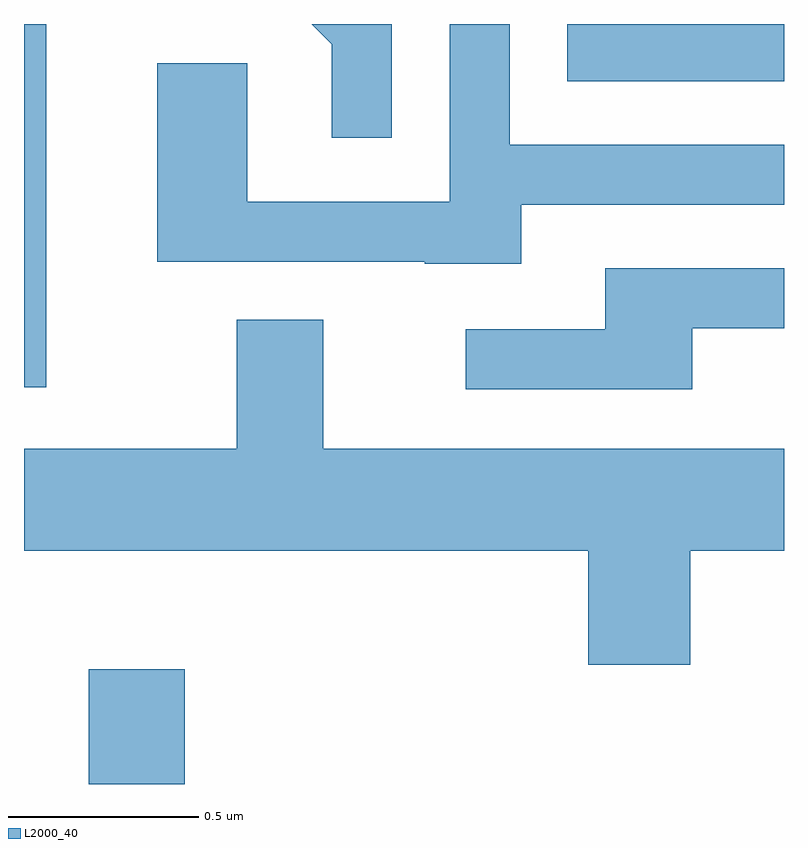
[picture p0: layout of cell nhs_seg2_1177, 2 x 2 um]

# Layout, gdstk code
import gdstk
lib = gdstk.Library(unit=1e-6, precision=1e-09)
def R(c, l, rs):  # rectangles x0, y0, x1, y1
    for r in rs: c.add(gdstk.rectangle(r[:2], r[2:], *l))
def P(c, l, *ps):  # polygons
    for p in ps: c.add(gdstk.Polygon(p, *l))
L2000_40 = (2000, 40)

nhs_seg2_1177 = lib.new_cell('nhs_seg2_1177')
R(nhs_seg2_1177, L2000_40, [(193.781,1058.802,194.034,1059.104), (193.611,1059.846,193.669,1060.802), (195.041,1060.651,195.611,1060.802)])
P(nhs_seg2_1177, L2000_40, [(194.919,1060.326),(195.611,1060.326),(195.611,1060.484),(194.889,1060.484),(194.889,1060.802),(194.731,1060.802),(194.731,1060.334),(194.199,1060.334),(194.199,1060.699),(193.961,1060.699),(193.961,1060.176),(194.665,1060.176),(194.665,1060.171),(194.919,1060.171)],
  [(194.579,1060.802),(194.368,1060.802),(194.421,1060.749),(194.421,1060.503),(194.579,1060.503)],
  [(195.369,1060.001),(195.611,1060.001),(195.611,1060.159),(195.141,1060.159),(195.141,1059.999),(194.773,1059.999),(194.773,1059.841),(195.369,1059.841)],
  [(195.364,1059.416),(195.611,1059.416),(195.611,1059.684),(194.399,1059.684),(194.399,1060.024),(194.171,1060.024),(194.171,1059.684),(193.611,1059.684),(193.611,1059.416),(195.096,1059.416),(195.096,1059.116),(195.364,1059.116)])

lib.write_gds('nhs_seg2_1177.gds')
